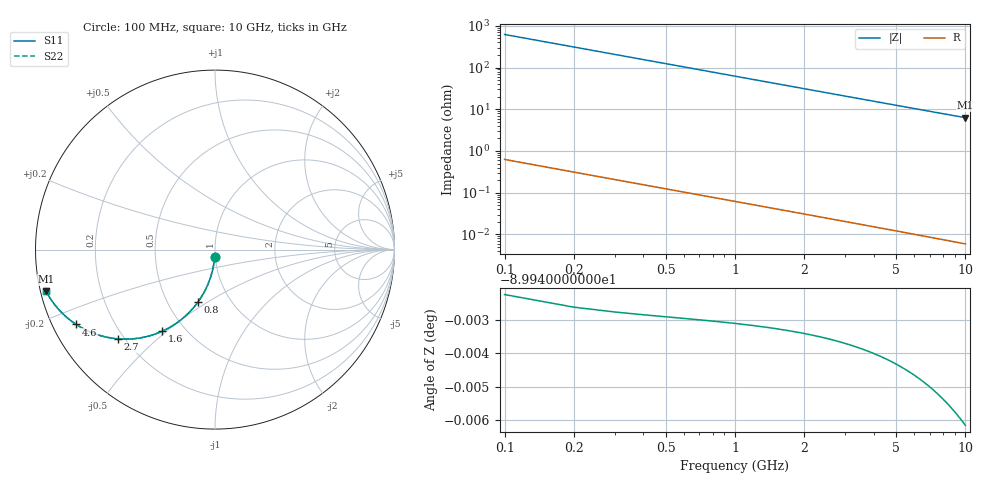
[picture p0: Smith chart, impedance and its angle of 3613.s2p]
# Hz S RI R 50.00
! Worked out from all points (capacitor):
!   100 points, 100 MHz to 10 GHz, reference 50 ohm
!   read as one part in shunt: C = 2.56 pF near 100 MHz
!   lowest |Z| = 6.29 ohm at 10 GHz (marker M1)
!   S11 on the Smith chart (normalised r, x): 100 MHz: 0.99, -0.08; 800 MHz: 0.71, -0.45; 1.6 GHz: 0.38, -0.48; 2.7 GHz: 0.18, -0.38; 4.6 GHz: 0.07, -0.25; 10 GHz: 0.02, -0.12
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1e8  -0.00164 -0.0401  0.9983 -0.0402  0.9983 -0.0402  -0.00164 -0.0401
2e8  -0.00649 -0.0798  0.9935 -0.0799  0.9935 -0.0799  -0.00649 -0.0798
3e8  -0.0144 -0.1188  0.9855 -0.1189  0.9855 -0.1189  -0.0144 -0.1188
4e8  -0.0253 -0.1566  0.9746 -0.1568  0.9746 -0.1568  -0.0253 -0.1566
5e8  -0.039 -0.193  0.961 -0.1932  0.961 -0.1932  -0.039 -0.193
6e8  -0.0552 -0.2277  0.9448 -0.228  0.9448 -0.228  -0.0552 -0.2277
8e8  -0.0939 -0.2911  0.906 -0.2915  0.906 -0.2915  -0.0939 -0.2911
1e9  -0.1393 -0.3456  0.8606 -0.346  0.8606 -0.346  -0.1393 -0.3456
1.2e9  -0.189 -0.3907  0.811 -0.3913  0.811 -0.3913  -0.189 -0.3907
1.4e9  -0.2407 -0.4267  0.7593 -0.4273  0.7593 -0.4273  -0.2407 -0.4267
1.6e9  -0.2927 -0.4541  0.7073 -0.4549  0.7073 -0.4549  -0.2927 -0.4541
1.8e9  -0.3436 -0.474  0.6563 -0.4749  0.6563 -0.4749  -0.3436 -0.474
2.2e9  -0.4387 -0.4952  0.5613 -0.4963  0.5613 -0.4963  -0.4387 -0.4952
2.7e9  -0.5405 -0.4972  0.4594 -0.4985  0.4594 -0.4985  -0.5405 -0.4972
3.4e9  -0.6508 -0.4754  0.3492 -0.477  0.3492 -0.477  -0.6508 -0.4754
4e9  -0.7205 -0.4473  0.2795 -0.4492  0.2795 -0.4492  -0.7205 -0.4473
4.6e9  -0.7731 -0.4172  0.2269 -0.4194  0.2269 -0.4194  -0.7731 -0.4172
5.1e9  -0.8071 -0.3928  0.1928 -0.3953  0.1928 -0.3953  -0.8071 -0.3928
5.8e9  -0.844 -0.361  0.156 -0.3638  0.156 -0.3638  -0.844 -0.361
6.7e9  -0.8782 -0.3249  0.1217 -0.3281  0.1217 -0.3281  -0.8782 -0.3249
8.4e9  -0.9188 -0.2705  0.0811 -0.2746  0.0811 -0.2746  -0.9188 -0.2705
1e10  -0.9413 -0.2321  0.0587 -0.237  0.0587 -0.237  -0.9413 -0.2321
